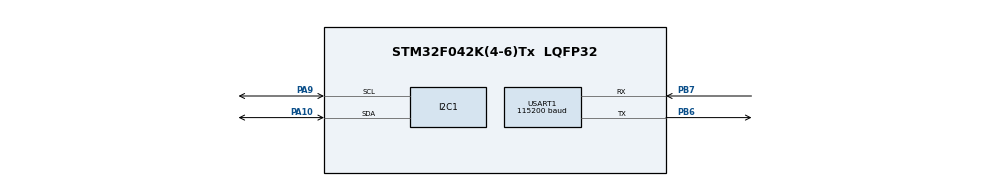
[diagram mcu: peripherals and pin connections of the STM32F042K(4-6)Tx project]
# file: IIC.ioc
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Dma.Request0=USART1_RX
Dma.Request1=USART1_TX
Dma.USART1_RX.0.Direction=DMA_PERIPH_TO_MEMORY
Dma.USART1_RX.0.Instance=DMA1_Channel3
Dma.USART1_RX.0.MemDataAlignment=DMA_MDATAALIGN_BYTE
Dma.USART1_RX.0.MemInc=DMA_MINC_ENABLE
Dma.USART1_RX.0.Mode=DMA_NORMAL
Dma.USART1_RX.0.PeriphDataAlignment=DMA_PDATAALIGN_BYTE
Dma.USART1_RX.0.PeriphInc=DMA_PINC_DISABLE
Dma.USART1_RX.0.Priority=DMA_PRIORITY_LOW
Dma.USART1_TX.1.Direction=DMA_MEMORY_TO_PERIPH
Dma.USART1_TX.1.Instance=DMA1_Channel2
Dma.USART1_TX.1.MemDataAlignment=DMA_MDATAALIGN_BYTE
Dma.USART1_TX.1.MemInc=DMA_MINC_ENABLE
Dma.USART1_TX.1.Mode=DMA_NORMAL
Dma.USART1_TX.1.PeriphDataAlignment=DMA_PDATAALIGN_BYTE
Dma.USART1_TX.1.PeriphInc=DMA_PINC_DISABLE
Dma.USART1_TX.1.Priority=DMA_PRIORITY_LOW
Mcu.Family=STM32F0
Mcu.Name=STM32F042K(4-6)Tx
Mcu.Package=LQFP32
NVIC.DMA1_Channel2_3_IRQn=true\:1\:0\:true\:false\:true\:false\:true\:true
NVIC.I2C1_IRQn=true\:0\:0\:false\:false\:true\:true\:true\:true
NVIC.TIM1_BRK_UP_TRG_COM_IRQn=true\:1\:0\:true\:false\:true\:false\:true\:true
NVIC.TimeBase=TIM1_BRK_UP_TRG_COM_IRQn
NVIC.TimeBaseIP=TIM1
NVIC.USART1_IRQn=true\:0\:0\:true\:false\:true\:true\:true\:true
PA10.GPIO_Pu=GPIO_PULLUP
PA10.Mode=I2C
PA10.Signal=I2C1_SDA
PA13.Mode=Serial_Wire
PA13.Signal=SYS_SWDIO
PA14.Mode=Serial_Wire
PA14.Signal=SYS_SWCLK
PA9.GPIO_Pu=GPIO_PULLUP
PA9.Mode=I2C
PA9.Signal=I2C1_SCL
PB6.GPIO_ModeDefaultPP=GPIO_MODE_AF_OD
PB6.Mode=Asynchronous
PB6.Signal=USART1_TX
PB7.GPIO_ModeDefaultPP=GPIO_MODE_AF_OD
PB7.Mode=Asynchronous
PB7.Signal=USART1_RX
PF0-OSC_IN.Mode=HSE-External-Oscillator
PF0-OSC_IN.Signal=RCC_OSC_IN
PF1-OSC_OUT.Mode=HSE-External-Oscillator
PF1-OSC_OUT.Signal=RCC_OSC_OUT
ProjectManager.HeapSize=0x200
ProjectManager.StackSize=0x400
ProjectManager.TargetToolchain=STM32CubeIDE
USART1.BaudRate=115200
USART1.VirtualMode-Asynchronous=VM_ASYNC
VP_SYS_VS_tim1.Mode=TIM1
board=custom

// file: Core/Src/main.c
/* USER CODE BEGIN Header */
/**
  ******************************************************************************
  * @file           : main.c
  * @brief          : Main program body
  ******************************************************************************
  * @attention
  *
  * Copyright (c) 2024 STMicroelectronics.
  * All rights reserved.
  *
  * This software is licensed under terms that can be found in the LICENSE file
  * in the root directory of this software component.
  * If no LICENSE file comes with this software, it is provided AS-IS.
  *
  ******************************************************************************
  */
/* USER CODE END Header */
#include "main.h"
#include "dma.h"
#include "i2c.h"
#include "usart.h"
#include "gpio.h"

/* USER CODE BEGIN Includes */
#include <string.h>
#include <stdio.h>
#include "24cxx.h"
#include <stm32f0xx_hal_uart.h>
//#include <stm32f0xx_hal_dma.h>
//#include "stm32f0xx_hal.h"
/* USER CODE END Includes */

/* USER CODE BEGIN PTD */
#define UART_TIMEOUT    60
#ifdef __GNUC__
#define PUTCHAR_PROTOTYPE int __io_putchar(int ch)
#else
#define PUTCHAR_PROTOTYPE int fputc(int ch. FILE *f)
#endif /* __GNUC__ */

#define USART_MAX_LEN  255
#define DOUBLE_END_MARK  //閸欏瞼绮ㄩ弶鐔剁秴閺冭埖澧﹂敓锟�???????????
#if SINGLE_END_MARK
#define USART_END_MARK 0XFF                //鐎规矮绠熺紒鎾存将閿燂拷???????????
#endif
#ifdef DOUBLE_END_MARK
#define USART_END_MARK1  0x0D   //鐎规矮绠熺紒鎾存将閿燂拷???????????
#define USART_END_MARK2  0x0A        //鐎规矮绠熺紒鎾存将閺嶅洤绻�
#endif
#define I2C_BUFF_SIZE 255
/* USER CODE END PTD */

/* USER CODE BEGIN PV */
	//uint8_t I2C_BUFF_SIZE=1;
	uint8_t I2C_BUFFER_WRITE[I2C_BUFF_SIZE] = {0};
	uint8_t I2C_BUFFER_READ[I2C_BUFF_SIZE] = {0};
	uint8_t WRITE_DATA_SIZE;
	uint16_t MemAddress;

	uint8_t RX_Buff[1]={0};  //鏉╂瑤閲滈惄绋跨秼娴滃骸鐣炬稊澶夌啊1byte閻ㄥ嫭甯撮弨鍓佺处鐎涙ê灏�
	uint8_t USART_RX_BUF[USART_MAX_LEN]={0}; //鐎规矮绠熼弫鐗堝祦鐎涙ɑ鏂佺粚娲？
	int8_t USART_RX_STA = 0;        //閺佺増宓佺�涙ɑ鏂佺拋鈩冩殶閺嶅洩顔�
	uint8_t n = 0;
	char rx_flg = 0;

extern	DMA_HandleTypeDef hdma_usart1_rx;
extern	DMA_HandleTypeDef hdma_usart1_tx;
extern  uint8_t WRITE_DATA_COUNT;
/* USER CODE END PV */

void SystemClock_Config(void);

/* USER CODE BEGIN 0 */
/*
int fputc(int ch, FILE *f)         //闁插秴鍟損rintf閸戣姤鏆�
{
	while(!((USART1->ISR) & (1<<7)));
	USART1->TDR = (uint8_t)ch;
	return ch;
}
*/
PUTCHAR_PROTOTYPE
{
  /* Place your implementation of fputc here */
  /* e.g. write a character to the EVAL_COM1 and Loop until the end of transmission */
  HAL_UART_Transmit(&huart1, (uint8_t *)&ch, 1, 0xFFFF);

  return ch;
}
/*
void HAL_UART_RxCpltCallback(UART_HandleTypeDef *huart)
{
	if(huart->Instance == USART1)
	{

		HAL_UART_Transmit_IT(&huart1, WRITE_DATA, sizeof(WRITE_DATA));
		//printf("data:%d\n",WRITE_DATA);
		memset(WRITE_DATA, 0, sizeof(WRITE_DATA));
		HAL_UART_Receive_IT(&huart1, WRITE_DATA, sizeof(WRITE_DATA));
	}

}
*/

/*******************************************************************************/
/* 閸戣姤鏆熼崝鐔诲厴閿涙矮瑕嗛崣锝勮厬閺傤厼娲栫拫鍐ㄥ毐閺佸府绱濋悽銊ょ艾娑撳秴鐣鹃梹鎸庢殶閹诡喗甯撮弨璁圭礉娴ｅ棝娓剁憰浣规箒缂佹挻娼弽鍥х箶閿燂拷???????????           閿燂拷???????????閿燂拷???????????        閿燂拷???????????閿燂拷???????????*/
/*                                                                             */
/* 閸戣姤鏆熼崣鍌涙殶閿涙瓗ART_HandleTypeDef缁鐎风紒鎾寸�敓锟�???????????                                       閿燂拷???????????閿燂拷???????????*/
/*                                                                             */
/* 閸戣姤鏆熸潻鏂挎礀閸婄》绱伴敓锟�???????????                                                               閿燂拷???????????*/
/*******************************************************************************/

void HAL_UART_RxCpltCallback(UART_HandleTypeDef *huart)        //娑撴彃褰涙稉顓熸焽閸ョ偠鐨熼崙鑺ユ殶
{

	UNUSED(huart);
	if(huart->Instance == USART1)
	{
		//rx_flg = 1;

#ifdef DOUBLE_END_MARK  //閸欏苯浠犲顫秴
		printf("something is done\n");

		//printf("register data:0x%x\n", USART1->RDR );
		//USART_RX_BUF[USART_RX_STA ++ ] = RX_Buff[n++];
		USART_RX_BUF[USART_RX_STA ++ ] = RX_Buff[n++];

		printf("data now:0x%x,next:0x%x\n",RX_Buff[1], RX_Buff[0]);
		//if(n==2){
		//			n = 0;
		//		}
		//printf("data now:0x%x\n",USART_RX_BUF[USART_RX_STA - 1]);
		//printf("USART_RX_BUF[USART_RX_STA-1] data:0x%x,usart_rx_sta:%d\n", USART_RX_BUF[USART_RX_STA-1],USART_RX_STA-1);
		//printf("first..%d\n",*((uint8_t*)huart->pRxBuffPtr - 1));
		//__HAL_UART_CLEAR_OREFLAG(huart);
        if(USART_RX_BUF[USART_RX_STA-1] == USART_END_MARK2)
        {
                if(USART_RX_BUF[USART_RX_STA-2] == USART_END_MARK1)
                {
                		printf("end sending %d data is sended\n", USART_RX_STA);

        		        for(uint8_t i = 0; i < USART_RX_STA; i++)
        		        {
        		        	printf("UART DataBuff[%d] = 0x%x\r\n",i, USART_RX_BUF[i]);
        		        }
                        memset(USART_RX_BUF, 0, sizeof(USART_RX_BUF));
                        //USART_RX_BUF[USART_RX_STA-1] = 0x00;
                        USART_RX_STA = 0;
                        //HAL_UART_Transmit_IT(&huart1,(uint8_t *)RX_Buff,sizeof(RX_Buff));
                }

        }
        else{
        //HAL_StatusTypeDef ret;

        //do{
 ///       HAL_UART_Transmit_IT(&huart1,RX_Buff,sizeof(RX_Buff));
        HAL_UART_Receive_DMA(&huart1, USART_RX_BUF, sizeof(USART_RX_BUF));
       // HAL_UARTEx_ReceiveToIdle_DMA(&huart1, USART_RX_BUF, sizeof(USART_RX_BUF));
        //memset(RX_Buff, 0, sizeof(RX_Buff));
         RX_Buff[0] = 0;
         //HAL_UART_Receive_IT(&huart1,RX_Buff,sizeof(RX_Buff));

        //huart1.RxState = HAL_UART_STATE_READY;
        //__HAL_UNLOCK(&huart1);
        //}while(ret != HAL_OK);

        printf("second receive\n");
       // return;
       }

#endif

#ifdef SINGLE_END_MARK        //閸楁洖浠犲顫秴
        if(*((uint8_t*)huart->pRxBuffPtr - 1 )== USART_END_MARK)
        {
                        USART_RX_BUF[USART_RX_STA] = 0x00;
                        HAL_UART_Receive_IT(&huart1, &USART_RX_ADD, 1);
                        USART_RX_STA = 0;
                        return;
        }

        else
        {
                if(USART_RX_STA > sizeof(USART_RX_BUF))
                {
                        USART_RX_STA = 0;
                }
                USART_RX_BUF[USART_RX_STA ++ ] = *((uint8_t*)huart->pRxBuffPtr - 1 );
                HAL_UART_Receive_IT(huart, &USART_RX_ADD, 1);
                return;
        }
#endif

	}
}

void HAL_UARTEx_RxEventCallback(UART_HandleTypeDef *huart, uint16_t Size)
{
	if(huart == &huart1)
	{
		rx_flg = 1;

		//HAL_UARTEx_ReceiveToIdle_DMA(&huart1, USART_RX_BUF, sizeof(USART_RX_BUF));
		__HAL_DMA_DISABLE_IT(&hdma_usart1_rx, DMA_IT_HT);//浼犺緭杩囧崐涓柇绂佺敤
	}
}

void Write_EEPROM(void)
{
	if(EP24C_IsDeviceReady()==HAL_OK)
	{
	/*
for (uint8_t i=0; i<WRITE_DATA_SIZE; i++ ) { //婵� 鍘栫紓鎾冲暱
	  I2C_BUFFER_WRITE[i] = i;
         printf("0x%02X ", I2C_BUFFER_WRITE[i]);
         if (i%16 == 15)
             printf("\n\r");
     }
     */
	printf("%d was received\n", WRITE_DATA_COUNT);
//鐏忓捄2c_Buf_Write娑擃參銆庢惔蹇ユ嫹?閿熻棄顤冮惃鍕殶閹诡喖鍟撻崗顧婨RPOM閿燂拷????????????
EP24C_WriteLongData(0, USART_RX_BUF, WRITE_DATA_COUNT);
HAL_Delay(100);
printf("I2C writes rom end\n");
EP24C_ReadBytes(0, I2C_BUFFER_READ, WRITE_DATA_COUNT);

for (uint8_t i=0; i<WRITE_DATA_COUNT; i++) {
         if (I2C_BUFFER_READ[i] != USART_RX_BUF[i])
         {
             printf("The data write to the rom:(0x%02X)\n ", USART_RX_BUF[i]);
             printf("Error:I2C EEPROM reading is not the same as writing\n");
             //return 0;
         }

         printf("the data read from the rom:0x%02X\n ", I2C_BUFFER_READ[i]);
         if (i%16 == 15)
             printf("\n\r");
     }
     printf("\n\r I2C(AT24C02) writing ending\n");
     //HAL_UART_Transmit_DMA(&huart1, I2C_BUFFER_READ, WRITE_DATA_COUNT);
}
}

/* USER CODE END 0 */

int main(void)
{

  /* USER CODE BEGIN 1 */
	//uint8_t ch;
	//uint8_t ch[20] = {0};

	//uint8_t READ_DATA = 0;
	//uint8_t READ_BUFFER;
	//HAL_StatusTypeDef read_result = HAL_ERROR;

  /* USER CODE END 1 */

  /* MCU Configuration--------------------------------------------------------*/

  /* Reset of all peripherals, Initializes the Flash interface and the Systick. */
  HAL_Init();

  /* Configure the system clock */
  SystemClock_Config();

  /* USER CODE BEGIN SysInit */
  HAL_Delay(100);
  /* USER CODE END SysInit */

  /* Initialize all configured peripherals */
  MX_GPIO_Init();
  MX_DMA_Init();
  MX_I2C1_Init();
  MX_USART1_UART_Init();
  /* USER CODE BEGIN 2 */
  //HAL_UART_Transmit(&huart1, "This is string\n", strlen("This is string\n"), UART_TIMEOUT);
  printf("this is printf test\n");
  //HAL_Delay(100);
  //HAL_UART_Receive_IT(&huart1, RX_Buff, sizeof(RX_Buff));
  __HAL_UART_ENABLE_IT(&huart1, UART_IT_IDLE);
  HAL_UART_Receive_DMA(&huart1, USART_RX_BUF, sizeof(USART_RX_BUF));
  HAL_UARTEx_ReceiveToIdle_DMA(&huart1, USART_RX_BUF, sizeof(USART_RX_BUF));
  __HAL_DMA_DISABLE_IT(&hdma_usart1_rx, DMA_IT_HT);

  //HAL_UART_ErrorCallback(&huart1);
  /*
  if (HAL_UART_Receive_IT(&huart1, &USART_RX_ADD, 1) != HAL_OK)
  {
	  __HAL_UART_ENABLE_IT(&huart1, UART_IT_ERR);
      //Error_Handler();
  }
  */

  //HAL_UART_Receive_IT(&huart1, WRITE_DATA, 1);

 // Write_EEPROM();
  /* USER CODE END 2 */

  /* Infinite loop */
  while (1)
  {

    /* USER CODE BEGIN 3 */
	  if(rx_flg > 0)
	  {
		  rx_flg = 0;
		  //HAL_UART_Transmit_DMA(&huart1, USART_RX_BUF, huart1.RxXferCount);
		  //HAL_I2C_Master_Transmit_DMA(&hi2c1, DEV_ADDR_24CXX, USART_RX_BUF, huart1.RxXferCount);
		  Write_EEPROM();

		  huart1.RxXferCount = 0;
		  HAL_UART_Receive_DMA(&huart1, USART_RX_BUF, sizeof(USART_RX_BUF));
		  //HAL_UARTEx_ReceiveToIdle_DMA(&huart1, USART_RX_BUF, sizeof(USART_RX_BUF));
	  }
/*
	  if(!HAL_OK){
	  		//read_result = EP24C_WriteOneByte(0x00, WRITE_DATA);
		  read_result = HAL_UART_Receive_IT(&huart1, &WRITE_DATA, 1);
	  		printf("start writing\n");
	  	 }
	  	 HAL_Delay(10);
	  	  printf("end write\n");
	  	 if(read_result == HAL_OK){
	  		 HAL_UART_Transmit_IT(&huart1, &WRITE_DATA, 1);
	  	 }

	  	 printf("data:0x%02x \r\n",WRITE_DATA);
	  	  memset(&WRITE_DATA, 0, 20);
*/
  }
  /* USER CODE END 3 */
}

void SystemClock_Config(void)
{
  RCC_OscInitTypeDef RCC_OscInitStruct = {0};
  RCC_ClkInitTypeDef RCC_ClkInitStruct = {0};
  RCC_PeriphCLKInitTypeDef PeriphClkInit = {0};

  /** Initializes the RCC Oscillators according to the specified parameters
  * in the RCC_OscInitTypeDef structure.
  */
  RCC_OscInitStruct.OscillatorType = RCC_OSCILLATORTYPE_HSI;
  RCC_OscInitStruct.HSIState = RCC_HSI_ON;
  RCC_OscInitStruct.HSICalibrationValue = RCC_HSICALIBRATION_DEFAULT;
  RCC_OscInitStruct.PLL.PLLState = RCC_PLL_NONE;
  if (HAL_RCC_OscConfig(&RCC_OscInitStruct) != HAL_OK)
  {
    Error_Handler();
  }

  /** Initializes the CPU, AHB and APB buses clocks
  */
  RCC_ClkInitStruct.ClockType = RCC_CLOCKTYPE_HCLK|RCC_CLOCKTYPE_SYSCLK
                              |RCC_CLOCKTYPE_PCLK1;
  RCC_ClkInitStruct.SYSCLKSource = RCC_SYSCLKSOURCE_HSI;
  RCC_ClkInitStruct.AHBCLKDivider = RCC_SYSCLK_DIV1;
  RCC_ClkInitStruct.APB1CLKDivider = RCC_HCLK_DIV1;

  if (HAL_RCC_ClockConfig(&RCC_ClkInitStruct, FLASH_LATENCY_0) != HAL_OK)
  {
    Error_Handler();
  }
  PeriphClkInit.PeriphClockSelection = RCC_PERIPHCLK_USART1|RCC_PERIPHCLK_I2C1;
  PeriphClkInit.Usart1ClockSelection = RCC_USART1CLKSOURCE_PCLK1;
  PeriphClkInit.I2c1ClockSelection = RCC_I2C1CLKSOURCE_HSI;
  if (HAL_RCCEx_PeriphCLKConfig(&PeriphClkInit) != HAL_OK)
  {
    Error_Handler();
  }
}

void HAL_TIM_PeriodElapsedCallback(TIM_HandleTypeDef *htim)
{
  if (htim->Instance == TIM1) {
    HAL_IncTick();
  }
}

void Error_Handler(void)
{
  __disable_irq();
  while (1)
  {
  }
}
